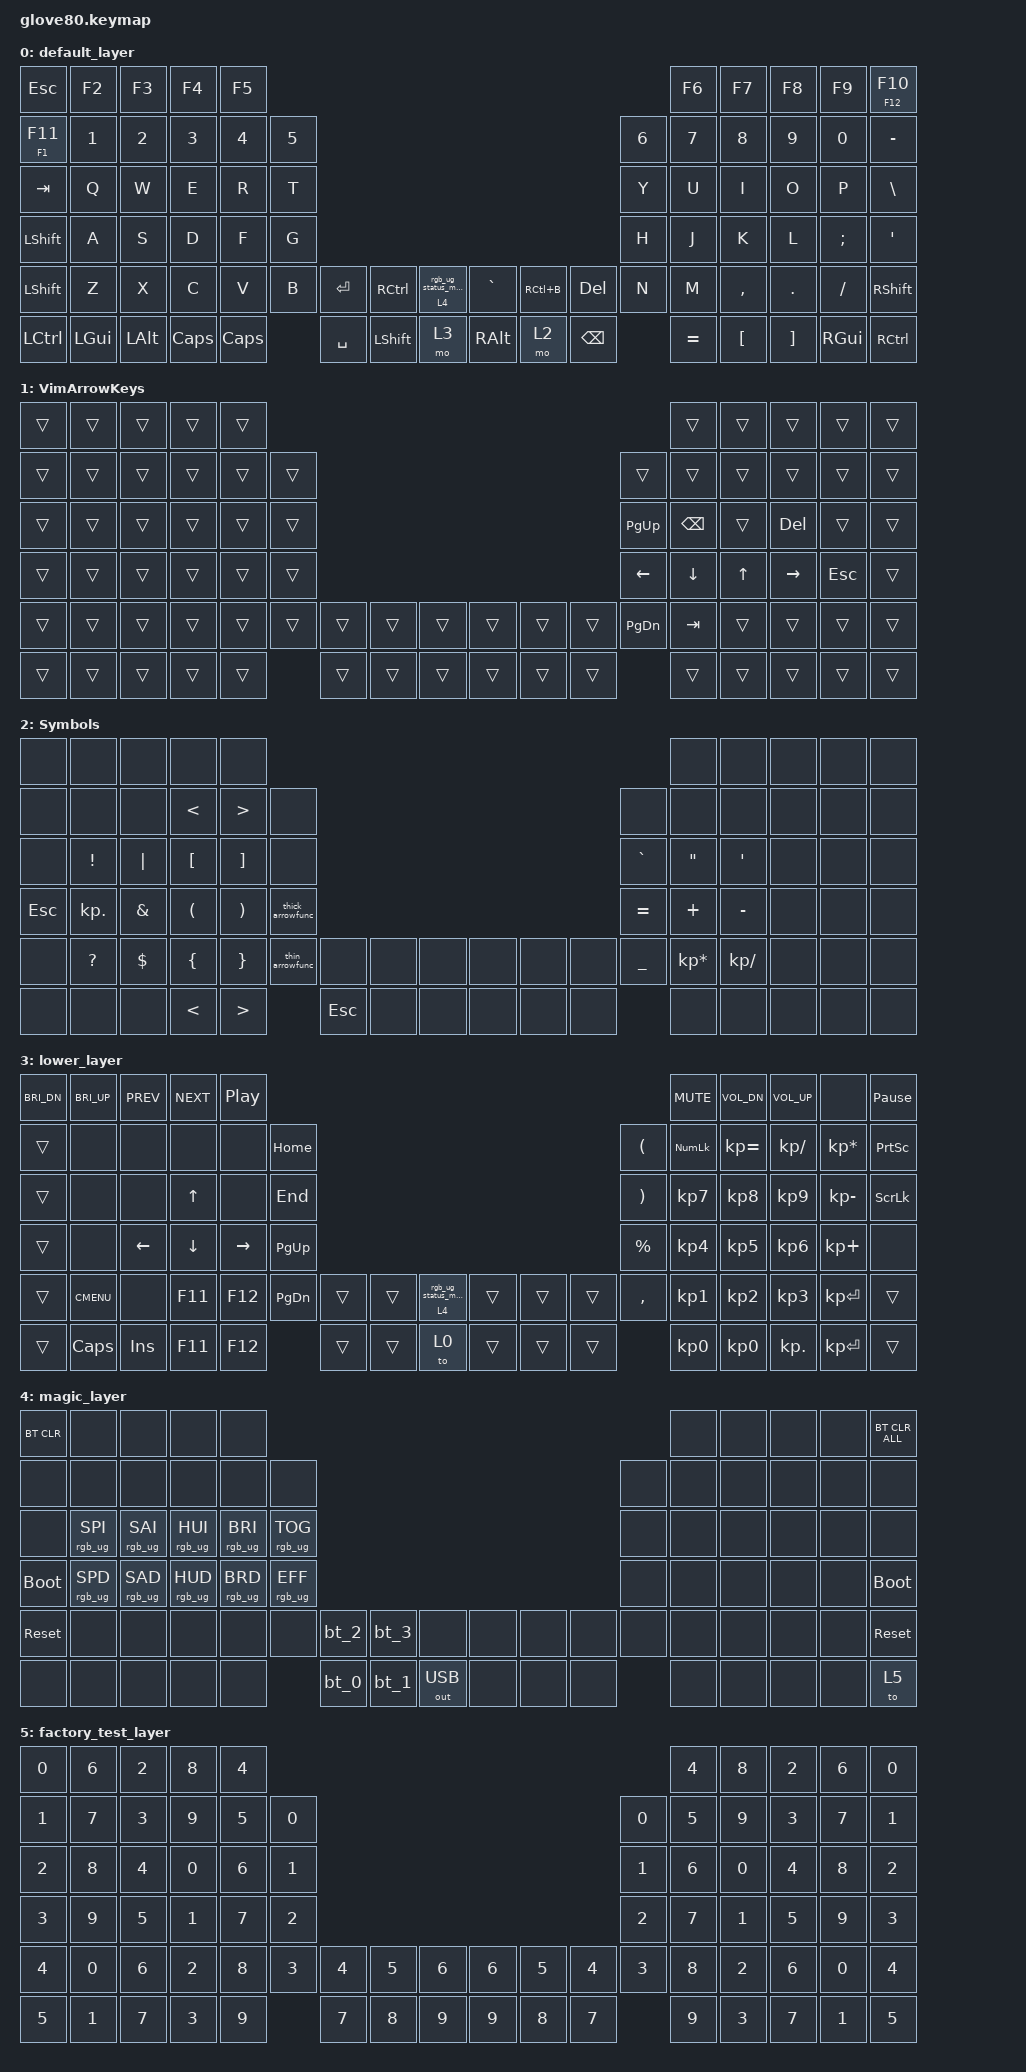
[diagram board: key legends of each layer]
/*
 * Copyright (c) 2020 The ZMK Contributors
 *
 * SPDX-License-Identifier: MIT
 */

#include <behaviors.dtsi>
#include <dt-bindings/zmk/bt.h>
#include <dt-bindings/zmk/keys.h>
#include <dt-bindings/zmk/outputs.h>
#include <dt-bindings/zmk/rgb.h>

#define HYPER LC(LS(LG(LALT)))

// layers

#define DEFAULT 0
#define LOWER 1
#define MAGIC 2
#define FACTORY_TEST 3

/ {
    behaviors {
        // For the "layer" key, it'd nice to be able to use it as either a shift or a toggle.
        // Configure it as a tap dance, so the first tap (or hold) is a &mo and the second tap is a &to

        layer_td: tap_dance_0 {
            compatible = "zmk,behavior-tap-dance";
            label = "LAYER_TAP_DANCE";
            #binding-cells = <0>;
            tapping-term-ms = <200>;
            bindings = <&mo 4>, <&to 4>;
        };

        magic: magic_hold_tap {
            compatible = "zmk,behavior-hold-tap";
            label = "MAGIC_HOLD_TAP";
            #binding-cells = <2>;
            flavor = "tap-preferred";
            tapping-term-ms = <200>;
            bindings = <&mo>, <&rgb_ug_status_macro>;
        };

        arrowfuncs: arrowfuncs {
            compatible = "zmk,behavior-hold-tap";
            label = "ARROWFUNCS";
            bindings = <&thin_arrowfunc>, <&thick_arrowfunc>;

            #binding-cells = <2>;
            tapping-term-ms = <200>;
            flavor = "tap-preferred";
        };

        HRM_L: HRM_L {
            compatible = "zmk,behavior-hold-tap";
            label = "HRM_L";
            bindings = <&kp>, <&kp>;

            #binding-cells = <2>;
            tapping-term-ms = <280>;
            quick-tap-ms = <175>;
            require-prior-idle-ms = <150>;
            flavor = "balanced";
            hold-trigger-key-positions = <23 35 36 37 48 49 0 1 2 3 4 10 11 12 13 14 15 22 23 24 25 26 27 34 35 36 37 38 39 48 49 50 51 46 47 64 65 66 67 68 52 53 54 71 70 69 55 56 57 74 73 72>;
            hold-trigger-on-release;
        };

        HMR_R: HMR_R {
            compatible = "zmk,behavior-hold-tap";
            label = "HMR_R";
            bindings = <&kp>, <&kp>;

            #binding-cells = <2>;
            tapping-term-ms = <280>;
            quick-tap-ms = <175>;
            require-prior-idle-ms = <150>;
            flavor = "balanced";
            hold-trigger-on-release;
            hold-trigger-key-positions = <5 6 7 8 9 17 18 19 20 21 29 30 31 32 33 41 42 43 44 45 59 60 61 62 63 75 76 77 78 79 5 6 7 8 9 16 17 18 19 20 21 28 29 30 31 32 33 40 41 42 43 44 45 54 55 56 57 58 59 60 61 62 63 73 74 75 76 77 78 79 52 53 54 55 56 70 71 72 69>;
        };

        smart_shift: smart_shift {
            compatible = "zmk,behavior-mod-morph";
            label = "SMART_SHIFT";
            bindings = <&sk LSHIFT>, <&caps_word>;

            #binding-cells = <0>;
            mods = <(MOD_LSFT)>;
        };

        parentheses_carrot_L: parentheses_carrot_L {
            compatible = "zmk,behavior-mod-morph";
            label = "PARENTHESES_CARROT_L";
            bindings = <&kp LEFT_PARENTHESIS>, <&kp LESS_THAN>;

            #binding-cells = <0>;
            mods = <(MOD_LSFT)>;
        };

        parentheses_carrot_R: parentheses_carrot_R {
            compatible = "zmk,behavior-mod-morph";
            label = "PARENTHESES_CARROT_R";
            bindings = <&kp RIGHT_PARENTHESIS>, <&kp GREATER_THAN>;

            #binding-cells = <0>;
            mods = <(MOD_LSFT)>;
        };

        square_curly_L: square_curly_L {
            compatible = "zmk,behavior-mod-morph";
            label = "SQUARE_CURLY_L";
            bindings = <&kp LEFT_BRACE>, <&kp LEFT_BRACKET>;

            #binding-cells = <0>;
            mods = <(MOD_LSFT)>;
        };

        square_curly_R: square_curly_R {
            compatible = "zmk,behavior-mod-morph";
            label = "SQUARE_CURLY_R";
            bindings = <&kp RIGHT_BRACE>, <&kp RIGHT_BRACKET>;

            #binding-cells = <0>;
            mods = <(MOD_LSFT)>;
        };

        closed_parentheses_carrots: closed_parentheses_carrots {
            compatible = "zmk,behavior-mod-morph";
            label = "CLOSED_PARENTHESES_CARROTS";
            bindings = <&closed_parentheses>, <&closed_carrots>;

            #binding-cells = <0>;
            mods = <(MOD_LSFT)>;
        };

        closed_square_curly: closed_square_curly {
            compatible = "zmk,behavior-mod-morph";
            label = "CLOSED_SQUARE_CURLY";
            bindings = <&closed_braces>, <&closed_bracket>;

            #binding-cells = <0>;
            mods = <(MOD_LSFT)>;
        };
    };

    macros {
        rgb_ug_status_macro: rgb_ug_status_macro_0 {
            label = "RGB_UG_STATUS";
            compatible = "zmk,behavior-macro";
            #binding-cells = <0>;
            bindings = <&rgb_ug RGB_STATUS>;
        };

        bt_0: bt_profile_macro_0 {
            label = "BT_0";
            compatible = "zmk,behavior-macro";
            #binding-cells = <0>;
            bindings = <&out OUT_BLE &bt BT_SEL 0>;
        };

        bt_1: bt_profile_macro_1 {
            label = "BT_1";
            compatible = "zmk,behavior-macro";
            #binding-cells = <0>;
            bindings = <&out OUT_BLE &bt BT_SEL 1>;
        };

        bt_2: bt_profile_macro_2 {
            label = "BT_2";
            compatible = "zmk,behavior-macro";
            #binding-cells = <0>;
            bindings = <&out OUT_BLE &bt BT_SEL 2>;
        };

        bt_3: bt_profile_macro_3 {
            label = "BT_3";
            compatible = "zmk,behavior-macro";
            #binding-cells = <0>;
            bindings = <&out OUT_BLE &bt BT_SEL 3>;
        };

        thick_arrowfunc: thick_arrowfunc {
            compatible = "zmk,behavior-macro";
            #binding-cells = <0>;
            bindings = <&kp EQUAL &kp GREATER_THAN>;
            label = "THICK_ARROWFUNC";
        };

        thin_arrowfunc: thin_arrowfunc {
            compatible = "zmk,behavior-macro";
            #binding-cells = <0>;
            bindings = <&kp MINUS &kp GREATER_THAN>;
            label = "THIN_ARROWFUNC";
            wait-ms = <0>;
            tap-ms = <0>;
        };

        closed_parentheses: closed_parentheses {
            compatible = "zmk,behavior-macro";
            #binding-cells = <0>;
            bindings = <&kp LPAR &kp RPAR>;
            label = "CLOSED_PARENTHESES";
        };

        closed_carrots: new_macro {
            compatible = "zmk,behavior-macro";
            #binding-cells = <0>;
            bindings = <&kp LT &kp GT>;
            label = "NEW_MACRO";
        };

        closed_braces: closed_braces {
            compatible = "zmk,behavior-macro";
            #binding-cells = <0>;
            bindings = <&kp LEFT_BRACE &kp RIGHT_BRACE>;
            label = "CLOSED_BRACES";
        };

        closed_bracket: closed_bracket {
            compatible = "zmk,behavior-macro";
            #binding-cells = <0>;
            bindings = <&kp LEFT_BRACKET &kp RIGHT_BRACKET>;
            label = "CLOSED_BRACKET";
        };
    };

    combos { compatible = "zmk,combos"; };

    keymap {
        compatible = "zmk,keymap";

        default_layer {
            // ---------------------------------------------------------------------------------------------------------------------------------
            // |  F1   |  F2 |  F3 |  F4  |  F5  |                                                               |  F6   |  F7   |  F8  |   F9  |  F10 |
            // |  =    |  1  |  2  |  3   |  4   |  5   |                                                 |  6   |   7   |   8   |  9   |   0   |   -  |
            // |  TAB  |  Q  |  W  |  E   |  R   |  T   |                                                 |  Y   |   U   |   I   |  O   |   P   |   \  |
            // |  ESC  |  A  |  S  |  D   |  F   |  G   |                                                 |  H   |   J   |   K   |  L   |   ;   |   '  |
            // |   `   |  Z  |  X  |  C   |  V   |  B   | LSHFT | LCTRL | LOWER | | LGUI  | RCTRL | RSHFT |  N   |   M   |   ,   |  .   |   /   | PGUP |
            // | MAGIC | HOME| END | LEFT | RIGHT|      | BSPC  | DEL   | LALT  | | RALT  | RET   | SPACE |      |  UP   | DOWN  |  [   |   ]   | PGDN |

            bindings = <
&kp ESCAPE        &kp F2    &kp F3    &kp F4    &kp F5                                                                                                    &kp F6     &kp F7            &kp F8             &kp F9         &mt F12 F10
&mt F1 F11        &kp N1    &kp N2    &kp N3    &kp N4    &kp N5                                                                                  &kp N6  &kp N7     &kp N8            &kp N9             &kp N0         &kp MINUS
&kp TAB           &kp Q     &kp W     &kp E     &kp R     &kp T                                                                                   &kp Y   &kp U      &kp I             &kp O              &kp P          &kp BSLH
&kp LEFT_SHIFT    &kp A     &kp S     &kp D     &kp F     &kp G                                                                                   &kp H   &kp J      &kp K             &kp L              &kp SEMICOLON  &kp SQT
&kp LEFT_SHIFT    &kp Z     &kp X     &kp C     &kp V     &kp B   &kp ENTER  &kp RCTRL       &magic 4 0  &kp GRAVE      &kp RC(B)  &kp DELETE     &kp N   &kp M      &kp COMMA         &kp DOT            &kp FSLH       &kp RIGHT_SHIFT
&kp LEFT_CONTROL  &kp LGUI  &kp LALT  &kp CAPS  &kp CAPS          &kp SPACE  &kp LEFT_SHIFT  &mo 3       &kp RIGHT_ALT  &mo 2      &kp BACKSPACE          &kp EQUAL  &kp LEFT_BRACKET  &kp RIGHT_BRACKET  &kp RGUI       &kp RIGHT_CONTROL
            >;
        };

        VimArrowKeys {
            bindings = <
&trans  &trans  &trans  &trans  &trans                                                                         &trans         &trans  &trans     &trans      &trans
&trans  &trans  &trans  &trans  &trans  &trans                                                  &trans         &trans         &trans  &trans     &trans      &trans
&trans  &trans  &trans  &trans  &trans  &trans                                                  &kp PAGE_UP    &kp BACKSPACE  &trans  &kp DEL    &trans      &trans
&trans  &trans  &trans  &trans  &trans  &trans                                                  &kp LEFT       &kp DOWN       &kp UP  &kp RIGHT  &kp ESCAPE  &trans
&trans  &trans  &trans  &trans  &trans  &trans  &trans  &trans  &trans  &trans  &trans  &trans  &kp PAGE_DOWN  &kp TAB        &trans  &trans     &trans      &trans
&trans  &trans  &trans  &trans  &trans          &trans  &trans  &trans  &trans  &trans  &trans                 &trans         &trans  &trans     &trans      &trans
            >;
        };

        Symbols {
            bindings = <
&none       &none            &none          &none                 &none                                                                                              &none              &none             &none  &none  &none
&none       &none            &none          &kp LESS_THAN         &kp GREATER_THAN       &none                                                            &none      &none              &none             &none  &none  &none
&none       &kp EXCLAMATION  &kp PIPE       &kp LEFT_BRACKET      &kp RIGHT_BRACKET      &none                                                            &kp GRAVE  &kp DOUBLE_QUOTES  &kp SINGLE_QUOTE  &none  &none  &none
&kp ESCAPE  &kp KP_DOT       &kp AMPERSAND  &kp LEFT_PARENTHESIS  &kp RIGHT_PARENTHESIS  &thick_arrowfunc                                                 &kp EQUAL  &kp PLUS           &kp MINUS         &none  &none  &none
&none       &kp QUESTION     &kp DOLLAR     &kp LEFT_BRACE        &kp RIGHT_BRACE        &thin_arrowfunc   &none       &none  &none  &none  &none  &none  &kp UNDER  &kp KP_MULTIPLY    &kp KP_DIVIDE     &none  &none  &none
&none       &none            &none          &kp LESS_THAN         &kp GREATER_THAN                         &kp ESCAPE  &none  &none  &none  &none  &none             &none              &none             &none  &none  &none
            >;
        };

        lower_layer {
            bindings = <
&kp C_BRI_DN  &kp C_BRI_UP  &kp C_PREV  &kp C_NEXT  &kp C_PP                                                                             &kp C_MUTE  &kp C_VOL_DN  &kp C_VOL_UP   &none            &kp PAUSE_BREAK
&trans        &none         &none       &none       &none      &kp HOME                                                       &kp LPAR   &kp KP_NUM  &kp KP_EQUAL  &kp KP_DIVIDE  &kp KP_MULTIPLY  &kp PSCRN
&trans        &none         &none       &kp UP      &none      &kp END                                                        &kp RPAR   &kp KP_N7   &kp KP_N8     &kp KP_N9      &kp KP_MINUS     &kp SLCK
&trans        &none         &kp LEFT    &kp DOWN    &kp RIGHT  &kp PG_UP                                                      &kp PRCNT  &kp KP_N4   &kp KP_N5     &kp KP_N6      &kp KP_PLUS      &none
&trans        &kp K_CMENU   &none       &kp F11     &kp F12    &kp PG_DN  &trans  &trans  &magic 4 0  &trans  &trans  &trans  &kp COMMA  &kp KP_N1   &kp KP_N2     &kp KP_N3      &kp KP_ENTER     &trans
&trans        &kp CAPS      &kp INS     &kp F11     &kp F12               &trans  &trans  &to 0       &trans  &trans  &trans             &kp KP_N0   &kp KP_N0     &kp KP_DOT     &kp KP_ENTER     &trans
            >;
        };

        magic_layer {
            bindings = <
&bt BT_CLR   &none            &none            &none            &none                                                                                     &none  &none  &none  &none  &bt BT_CLR_ALL
&none        &none            &none            &none            &none            &none                                                             &none  &none  &none  &none  &none  &none
&none        &rgb_ug RGB_SPI  &rgb_ug RGB_SAI  &rgb_ug RGB_HUI  &rgb_ug RGB_BRI  &rgb_ug RGB_TOG                                                   &none  &none  &none  &none  &none  &none
&bootloader  &rgb_ug RGB_SPD  &rgb_ug RGB_SAD  &rgb_ug RGB_HUD  &rgb_ug RGB_BRD  &rgb_ug RGB_EFF                                                   &none  &none  &none  &none  &none  &bootloader
&sys_reset   &none            &none            &none            &none            &none            &bt_2  &bt_3  &none         &none  &none  &none  &none  &none  &none  &none  &none  &sys_reset
&none        &none            &none            &none            &none                             &bt_0  &bt_1  &out OUT_USB  &none  &none  &none         &none  &none  &none  &none  &to 5
            >;
        };

        factory_test_layer {
            bindings = <
&kp N0  &kp N6  &kp N2  &kp N8  &kp N4                                                                  &kp N4  &kp N8  &kp N2  &kp N6  &kp N0
&kp N1  &kp N7  &kp N3  &kp N9  &kp N5  &kp N0                                                  &kp N0  &kp N5  &kp N9  &kp N3  &kp N7  &kp N1
&kp N2  &kp N8  &kp N4  &kp N0  &kp N6  &kp N1                                                  &kp N1  &kp N6  &kp N0  &kp N4  &kp N8  &kp N2
&kp N3  &kp N9  &kp N5  &kp N1  &kp N7  &kp N2                                                  &kp N2  &kp N7  &kp N1  &kp N5  &kp N9  &kp N3
&kp N4  &kp N0  &kp N6  &kp N2  &kp N8  &kp N3  &kp N4  &kp N5  &kp N6  &kp N6  &kp N5  &kp N4  &kp N3  &kp N8  &kp N2  &kp N6  &kp N0  &kp N4
&kp N5  &kp N1  &kp N7  &kp N3  &kp N9          &kp N7  &kp N8  &kp N9  &kp N9  &kp N8  &kp N7          &kp N9  &kp N3  &kp N7  &kp N1  &kp N5
            >;
        };
    };
};
